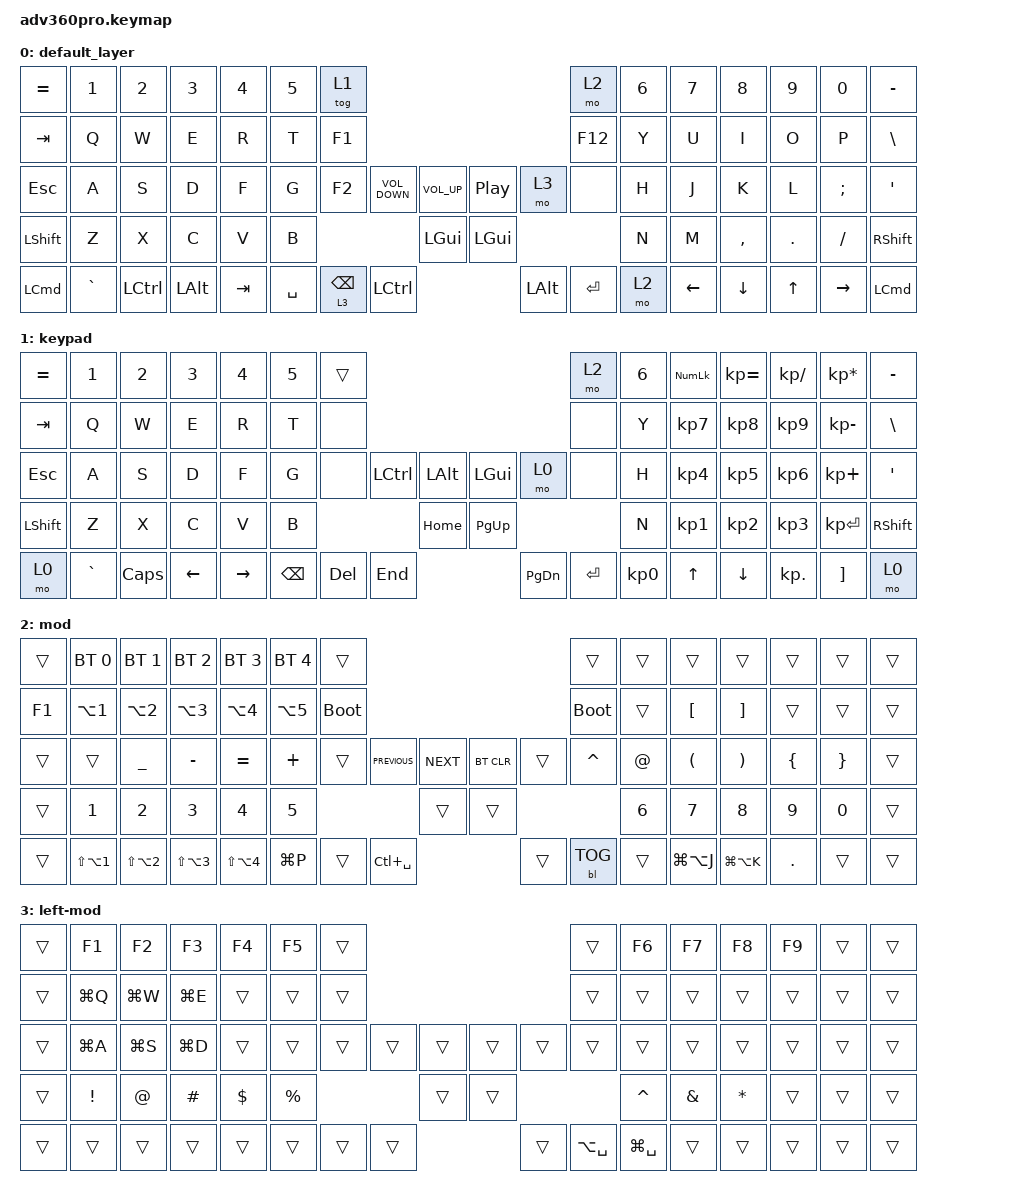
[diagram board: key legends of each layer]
#include <behaviors.dtsi>
#include <dt-bindings/zmk/backlight.h>
#include <dt-bindings/zmk/bt.h>
#include <dt-bindings/zmk/keys.h>

&lt {
    tapping-term-ms = <120>;
    quick-tap-ms = <5>;
};

/ {
    macros {
        cmd_ctrl_shift: cmd_ctrl_shift {
            compatible = "zmk,behavior-macro";
            #binding-cells = <0>;
            bindings =
                <&macro_press>,
                <&kp LEFT_CONTROL &kp LEFT_COMMAND &kp LEFT_SHIFT>,
                <&macro_pause_for_release>,
                <&macro_release>,
                <&kp LEFT_CONTROL &kp LEFT_COMMAND &kp LEFT_SHIFT>;

            label = "CMD_CTRL_SHIFT";
        };

        ctrl_shift: ctrl_shift {
            compatible = "zmk,behavior-macro";
            #binding-cells = <0>;
            bindings =
                <&macro_press>,
                <&kp LEFT_CONTROL &kp LEFT_SHIFT>,
                <&macro_pause_for_release>,
                <&macro_release>,
                <&kp LEFT_CONTROL &kp LEFT_SHIFT>;

            label = "CTRL_SHIFT";
        };

        ctrl_space: ctrl_space {
            compatible = "zmk,behavior-macro";
            #binding-cells = <0>;
            bindings = <&macro_tap>, <&kp LEFT_CONTROL &kp SPACE>;

            label = "CTRL_SPACE";
        };
    };

    keymap {
        compatible = "zmk,keymap";

        default_layer {
            bindings = <
&kp EQUAL         &kp N1     &kp N2            &kp N3        &kp N4   &kp N5  &tog 1                                                                                        &mo 2    &kp N6  &kp N7    &kp N8     &kp N9   &kp N0     &kp MINUS
&kp TAB           &kp Q      &kp W             &kp E         &kp R    &kp T   &kp F1                                                                                        &kp F12  &kp Y   &kp U     &kp I      &kp O    &kp P      &kp BSLH
&kp ESC           &kp A      &kp S             &kp D         &kp F    &kp G   &kp F2             &kp C_VOLUME_DOWN  &kp C_VOLUME_UP     &kp C_PLAY_PAUSE  &mo 3             &none    &kp H   &kp J     &kp K      &kp L    &kp SEMI   &kp SQT
&kp LSHFT         &kp Z      &kp X             &kp C         &kp V    &kp B                                         &kp LEFT_GUI        &kp LEFT_GUI                                 &kp N   &kp M     &kp COMMA  &kp DOT  &kp FSLH   &kp RSHFT
&kp LEFT_COMMAND  &kp GRAVE  &kp LEFT_CONTROL  &kp LEFT_ALT  &kp TAB                  &kp SPACE  &lt 3 BACKSPACE    &kp LEFT_CONTROL    &kp LEFT_ALT      &kp ENTER  &mo 2                   &kp LEFT  &kp DOWN   &kp UP   &kp RIGHT  &kp LEFT_COMMAND
            >;
        };

        keypad {
            bindings = <
&kp EQUAL  &kp N1     &kp N2    &kp N3    &kp N4     &kp N5  &trans                                                                    &mo 2  &kp N6  &kp KP_NUM  &kp KP_EQUAL  &kp KP_DIVIDE  &kp KP_MULTIPLY  &kp MINUS
&kp TAB    &kp Q      &kp W     &kp E     &kp R      &kp T   &none                                                                     &none  &kp Y   &kp KP_N7   &kp KP_N8     &kp KP_N9      &kp KP_MINUS     &kp BSLH
&kp ESC    &kp A      &kp S     &kp D     &kp F      &kp G   &none             &kp LCTRL  &kp LALT    &kp LGUI   &mo 0                 &none  &kp H   &kp KP_N4   &kp KP_N5     &kp KP_N6      &kp KP_PLUS      &kp SQT
&kp LSHFT  &kp Z      &kp X     &kp C     &kp V      &kp B                                &kp HOME    &kp PG_UP                               &kp N   &kp KP_N1   &kp KP_N2     &kp KP_N3      &kp KP_ENTER     &kp RSHFT
&mo 0      &kp GRAVE  &kp CAPS  &kp LEFT  &kp RIGHT                  &kp BSPC  &kp DEL    &kp END     &kp PG_DN  &kp ENTER  &kp KP_N0                 &kp UP      &kp DOWN      &kp KP_DOT     &kp RBKT         &mo 0
            >;
        };

        mod {
            bindings = <
&trans  &bt BT_SEL 0          &bt BT_SEL 1          &bt BT_SEL 2          &bt BT_SEL 3          &bt BT_SEL 4  &trans                                                                                   &trans       &trans       &trans                &trans                 &trans          &trans           &trans
&kp F1  &kp LA(NUMBER_1)      &kp LA(NUMBER_2)      &kp LA(NUMBER_3)      &kp LA(NUMBER_4)      &kp LA(N5)    &bootloader                                                                              &bootloader  &trans       &kp LEFT_BRACKET      &kp RIGHT_BRACKET      &trans          &trans           &trans
&trans  &trans                &kp UNDER             &kp MINUS             &kp EQUAL             &kp PLUS      &trans                  &kp C_PREVIOUS  &kp C_NEXT       &bt BT_CLR  &trans              &kp CARET    &kp AT_SIGN  &kp LEFT_PARENTHESIS  &kp RIGHT_PARENTHESIS  &kp LEFT_BRACE  &kp RIGHT_BRACE  &trans
&trans  &kp N1                &kp N2                &kp N3                &kp N4                &kp N5                                                &trans           &trans                                       &kp N6       &kp N7                &kp N8                 &kp N9          &kp N0           &trans
&trans  &kp LS(LA(NUMBER_1))  &kp LS(LA(NUMBER_2))  &kp LS(LA(NUMBER_3))  &kp LS(LA(NUMBER_4))                             &kp LG(P)  &trans          &kp LC(SPACE)    &trans      &bl BL_TOG  &trans                            &kp LG(LA(J))         &kp LG(LA(K))          &kp PERIOD      &trans           &trans
            >;
        };

        left-mod {
            bindings = <
&trans  &kp F1           &kp F2       &kp F3     &kp F4      &kp F5       &trans                                                                  &trans  &kp F6     &kp F7         &kp F8        &kp F9  &trans  &trans
&trans  &kp LG(Q)        &kp LG(W)    &kp LG(E)  &trans      &trans       &trans                                                                  &trans  &trans     &trans         &trans        &trans  &trans  &trans
&trans  &kp LG(A)        &kp LG(S)    &kp LG(D)  &trans      &trans       &trans          &trans  &trans    &trans  &trans                        &trans  &trans     &trans         &trans        &trans  &trans  &trans
&trans  &kp EXCLAMATION  &kp AT_SIGN  &kp HASH   &kp DOLLAR  &kp PERCENT                          &trans    &trans                                        &kp CARET  &kp AMPERSAND  &kp ASTERISK  &trans  &trans  &trans
&trans  &trans           &trans       &trans     &trans                           &trans  &trans  &trans    &trans  &kp LA(SPACE)  &kp LG(SPACE)                     &trans         &trans        &trans  &trans  &trans
            >;
        };
    };
};
